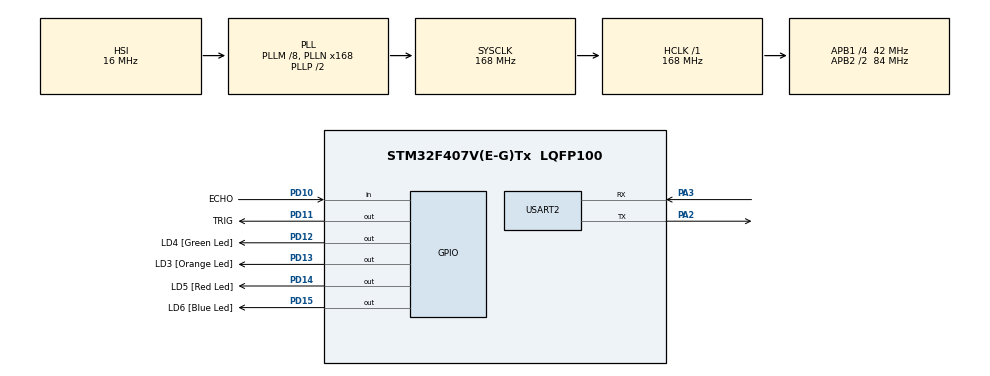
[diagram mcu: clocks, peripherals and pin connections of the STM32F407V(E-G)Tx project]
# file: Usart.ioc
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Dma.Request0=USART2_RX
Dma.USART2_RX.0.Direction=DMA_PERIPH_TO_MEMORY
Dma.USART2_RX.0.FIFOMode=DMA_FIFOMODE_DISABLE
Dma.USART2_RX.0.Instance=DMA1_Stream5
Dma.USART2_RX.0.MemDataAlignment=DMA_MDATAALIGN_BYTE
Dma.USART2_RX.0.MemInc=DMA_MINC_ENABLE
Dma.USART2_RX.0.Mode=DMA_NORMAL
Dma.USART2_RX.0.PeriphDataAlignment=DMA_PDATAALIGN_BYTE
Dma.USART2_RX.0.PeriphInc=DMA_PINC_DISABLE
Dma.USART2_RX.0.Priority=DMA_PRIORITY_LOW
Mcu.Family=STM32F4
Mcu.Name=STM32F407V(E-G)Tx
Mcu.Package=LQFP100
NVIC.DMA1_Stream5_IRQn=true\:0\:0\:false\:false\:true\:false\:true
NVIC.PriorityGroup=NVIC_PRIORITYGROUP_0
PA2.Mode=Asynchronous
PA2.Signal=USART2_TX
PA3.Mode=Asynchronous
PA3.Signal=USART2_RX
PD10.GPIO_Label=ECHO
PD10.Signal=GPIO_Input
PD11.GPIO_Label=TRIG
PD11.Signal=GPIO_Output
PD12.GPIO_Label=LD4 [Green Led]
PD12.Signal=GPIO_Output
PD13.GPIO_Label=LD3 [Orange Led]
PD13.Signal=GPIO_Output
PD14.GPIO_Label=LD5 [Red Led]
PD14.Signal=GPIO_Output
PD15.GPIO_Label=LD6 [Blue Led]
PD15.Signal=GPIO_Output
ProjectManager.HeapSize=0x200
ProjectManager.StackSize=0x400
ProjectManager.TargetToolchain=MDK-ARM V5.27
RCC.48MHZClocksFreq_Value=48000000
RCC.AHBFreq_Value=168000000
RCC.APB1CLKDivider=RCC_HCLK_DIV4
RCC.APB1Freq_Value=42000000
RCC.APB1TimFreq_Value=84000000
RCC.APB2CLKDivider=RCC_HCLK_DIV2
RCC.APB2Freq_Value=84000000
RCC.APB2TimFreq_Value=168000000
RCC.CortexFreq_Value=168000000
RCC.HCLKFreq_Value=168000000
RCC.HSE_VALUE=8000000
RCC.HSI_VALUE=16000000
RCC.LSE_VALUE=32768
RCC.PLLM=8
RCC.PLLN=168
RCC.PLLQ=7
RCC.SYSCLKFreq_VALUE=168000000
RCC.SYSCLKSource=RCC_SYSCLKSOURCE_PLLCLK
RCC.VCOOutputFreq_Value=336000000
TIM4.Prescaler=84-1
USART2.VirtualMode=VM_ASYNC
VP_TIM4_VS_ClockSourceINT.Mode=Internal
board=STM32F407G-DISC1

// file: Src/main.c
/* USER CODE BEGIN Header */
/**
  ******************************************************************************
  * @file           : main.c
  * @brief          : Main program body
  ******************************************************************************
  * @attention
  *
  * <h2><center>&copy; Copyright (c) 2019 STMicroelectronics.
  * All rights reserved.</center></h2>
  *
  * This software component is licensed by ST under BSD 3-Clause license,
  * the "License"; You may not use this file except in compliance with the
  * License. You may obtain a copy of the License at:
  *                        opensource.org/licenses/BSD-3-Clause
  *
  ******************************************************************************
  */
/* USER CODE END Header */

#include "main.h"

/* USER CODE BEGIN Includes */
#include "sensors.h"
#include <string.h>
/* USER CODE END Includes */

/* USER CODE BEGIN PD */
#define LONGDATA 400
/* USER CODE END PD */

TIM_HandleTypeDef htim4;

UART_HandleTypeDef huart2;
DMA_HandleTypeDef hdma_usart2_rx;

/* USER CODE BEGIN PV */
extern uint8_t chanel;
/* USER CODE END PV */

void SystemClock_Config(void);
static void MX_GPIO_Init(void);
static void MX_DMA_Init(void);
static void MX_USART2_UART_Init(void);
static void MX_TIM4_Init(void);

/* USER CODE BEGIN 0 */
uint8_t rxData[LONGDATA];
/* USER CODE END 0 */

int main(void)
{

  /* MCU Configuration--------------------------------------------------------*/

  /* Reset of all peripherals, Initializes the Flash interface and the Systick. */
  HAL_Init();

  /* Configure the system clock */
  SystemClock_Config();

  /* Initialize all configured peripherals */
  MX_GPIO_Init();
  MX_DMA_Init();
  MX_USART2_UART_Init();
  MX_TIM4_Init();
  /* USER CODE BEGIN 2 */
	InitESP();
	HAL_UART_Receive_DMA(&huart2, (uint8_t *)rxData, LONGDATA);
	//find_str(rxData);
  /* USER CODE END 2 */

  /* Infinite loop */
  while (1)
  {

    /* USER CODE BEGIN 3 */
		HAL_GPIO_TogglePin(LD3_GPIO_Port, LD3_Pin);	//Orange
		HAL_Delay(1000);

		if(chanel != 66)
		{
			DistanceUltrasonic();
			UpPage();
			HAL_GPIO_TogglePin(LD5_GPIO_Port, LD5_Pin);	//Red
			chanel=66;
		}
  }
  /* USER CODE END 3 */
}

void SystemClock_Config(void)
{
  RCC_OscInitTypeDef RCC_OscInitStruct = {0};
  RCC_ClkInitTypeDef RCC_ClkInitStruct = {0};

  /** Configure the main internal regulator output voltage
  */
  __HAL_RCC_PWR_CLK_ENABLE();
  __HAL_PWR_VOLTAGESCALING_CONFIG(PWR_REGULATOR_VOLTAGE_SCALE1);
  /** Initializes the CPU, AHB and APB busses clocks
  */
  RCC_OscInitStruct.OscillatorType = RCC_OSCILLATORTYPE_HSI;
  RCC_OscInitStruct.HSIState = RCC_HSI_ON;
  RCC_OscInitStruct.HSICalibrationValue = RCC_HSICALIBRATION_DEFAULT;
  RCC_OscInitStruct.PLL.PLLState = RCC_PLL_ON;
  RCC_OscInitStruct.PLL.PLLSource = RCC_PLLSOURCE_HSI;
  RCC_OscInitStruct.PLL.PLLM = 8;
  RCC_OscInitStruct.PLL.PLLN = 168;
  RCC_OscInitStruct.PLL.PLLP = RCC_PLLP_DIV2;
  RCC_OscInitStruct.PLL.PLLQ = 7;
  if (HAL_RCC_OscConfig(&RCC_OscInitStruct) != HAL_OK)
  {
    Error_Handler();
  }
  /** Initializes the CPU, AHB and APB busses clocks
  */
  RCC_ClkInitStruct.ClockType = RCC_CLOCKTYPE_HCLK|RCC_CLOCKTYPE_SYSCLK
                              |RCC_CLOCKTYPE_PCLK1|RCC_CLOCKTYPE_PCLK2;
  RCC_ClkInitStruct.SYSCLKSource = RCC_SYSCLKSOURCE_PLLCLK;
  RCC_ClkInitStruct.AHBCLKDivider = RCC_SYSCLK_DIV1;
  RCC_ClkInitStruct.APB1CLKDivider = RCC_HCLK_DIV4;
  RCC_ClkInitStruct.APB2CLKDivider = RCC_HCLK_DIV2;

  if (HAL_RCC_ClockConfig(&RCC_ClkInitStruct, FLASH_LATENCY_5) != HAL_OK)
  {
    Error_Handler();
  }
}

static void MX_TIM4_Init(void)
{

  TIM_ClockConfigTypeDef sClockSourceConfig = {0};
  TIM_MasterConfigTypeDef sMasterConfig = {0};

  htim4.Instance = TIM4;
  htim4.Init.Prescaler = 84-1;
  htim4.Init.CounterMode = TIM_COUNTERMODE_UP;
  htim4.Init.Period = 0;
  htim4.Init.ClockDivision = TIM_CLOCKDIVISION_DIV1;
  htim4.Init.AutoReloadPreload = TIM_AUTORELOAD_PRELOAD_DISABLE;
  if (HAL_TIM_Base_Init(&htim4) != HAL_OK)
  {
    Error_Handler();
  }
  sClockSourceConfig.ClockSource = TIM_CLOCKSOURCE_INTERNAL;
  if (HAL_TIM_ConfigClockSource(&htim4, &sClockSourceConfig) != HAL_OK)
  {
    Error_Handler();
  }
  sMasterConfig.MasterOutputTrigger = TIM_TRGO_RESET;
  sMasterConfig.MasterSlaveMode = TIM_MASTERSLAVEMODE_DISABLE;
  if (HAL_TIMEx_MasterConfigSynchronization(&htim4, &sMasterConfig) != HAL_OK)
  {
    Error_Handler();
  }

}

static void MX_USART2_UART_Init(void)
{

  huart2.Instance = USART2;
  huart2.Init.BaudRate = 115200;
  huart2.Init.WordLength = UART_WORDLENGTH_8B;
  huart2.Init.StopBits = UART_STOPBITS_1;
  huart2.Init.Parity = UART_PARITY_NONE;
  huart2.Init.Mode = UART_MODE_TX_RX;
  huart2.Init.HwFlowCtl = UART_HWCONTROL_NONE;
  huart2.Init.OverSampling = UART_OVERSAMPLING_16;
  if (HAL_UART_Init(&huart2) != HAL_OK)
  {
    Error_Handler();
  }

}

static void MX_DMA_Init(void)
{

  /* DMA controller clock enable */
  __HAL_RCC_DMA1_CLK_ENABLE();

  /* DMA interrupt init */
  /* DMA1_Stream5_IRQn interrupt configuration */
  HAL_NVIC_SetPriority(DMA1_Stream5_IRQn, 0, 0);
  HAL_NVIC_EnableIRQ(DMA1_Stream5_IRQn);

}

static void MX_GPIO_Init(void)
{
  GPIO_InitTypeDef GPIO_InitStruct = {0};

  /* GPIO Ports Clock Enable */
  __HAL_RCC_GPIOA_CLK_ENABLE();
  __HAL_RCC_GPIOD_CLK_ENABLE();

  /*Configure GPIO pin Output Level */
  HAL_GPIO_WritePin(GPIOD, TRIG_Pin|LD4_Pin|LD3_Pin|LD5_Pin
                          |LD6_Pin, GPIO_PIN_RESET);

  /*Configure GPIO pin : ECHO_Pin */
  GPIO_InitStruct.Pin = ECHO_Pin;
  GPIO_InitStruct.Mode = GPIO_MODE_INPUT;
  GPIO_InitStruct.Pull = GPIO_NOPULL;
  HAL_GPIO_Init(ECHO_GPIO_Port, &GPIO_InitStruct);

  /*Configure GPIO pins : TRIG_Pin LD4_Pin LD3_Pin LD5_Pin
                           LD6_Pin */
  GPIO_InitStruct.Pin = TRIG_Pin|LD4_Pin|LD3_Pin|LD5_Pin
                          |LD6_Pin;
  GPIO_InitStruct.Mode = GPIO_MODE_OUTPUT_PP;
  GPIO_InitStruct.Pull = GPIO_NOPULL;
  GPIO_InitStruct.Speed = GPIO_SPEED_FREQ_LOW;
  HAL_GPIO_Init(GPIOD, &GPIO_InitStruct);

}

/* USER CODE BEGIN 4 */
//When is completed a receive will enter here
void HAL_UART_RxCpltCallback(UART_HandleTypeDef *huart)
{
	if(huart->Instance == USART2)
	{
    find_str(rxData);
		//HAL_UART_Transmit_DMA(&huart2, (uint8_t *)rxData, LONGDATA);
		HAL_UART_Receive_DMA(&huart2, (uint8_t *)rxData, LONGDATA);
		HAL_GPIO_TogglePin(LD6_GPIO_Port, LD6_Pin);	//Blue
	}
}
/* USER CODE END 4 */

void Error_Handler(void)
{
}

/************************ (C) COPYRIGHT STMicroelectronics *****END OF FILE****/
